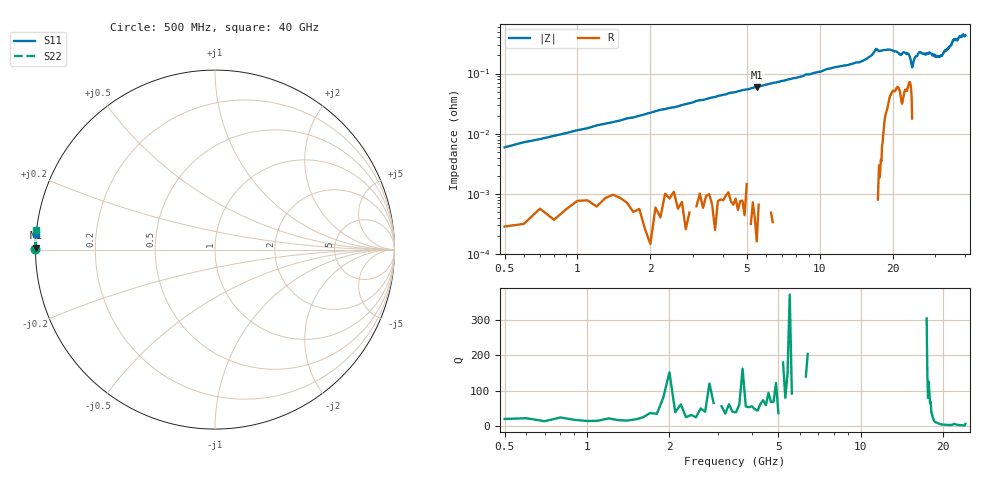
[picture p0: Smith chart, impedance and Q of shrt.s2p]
!Keysight Technologies,N5247B,MY61255062,A.15.50.07
!Date: Wednesday, February 12, 2025 16:43:45
!Correction: S11(C  2-Port  )
!S21(C  2-Port  )
!S12(C  2-Port  )
!S22(C  2-Port  )
!S2P File: Measurements: S11, S21, S12, S22:
# Hz S  MA  R 50
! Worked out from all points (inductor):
!   396 points, 500 MHz to 40 GHz, reference 50 ohm
!   read as one part in shunt: L = 1.83 pH near 600 MHz
!   highest Q = 148 at 5.5 GHz (marker M1), where L = 1.74 pH
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5e8  1 179.9  0.0002375 87.2  0.0002456 83.7  1.001 180.0
7e8  0.9999 179.9  0.0003262 85.9  0.0003427 84.1  1.001 179.9
1.2e9  0.9998 179.9  0.0005501 87.3  0.0005414 85.8  1.001 179.8
2.2e9  0.9999 179.7  0.001001 88.8  0.0009995 88.5  1.001 179.7
4e9  0.9999 179.5  0.001776 88.5  0.001803 87.9  1.002 179.4
5.5e9  0.9997 179.3  0.002408 89.1  0.002408 89.2  1.002 179.2
7.1e9  0.9997 179.1  0.003043 89.6  0.003067 89.6  1.002 179.0
1.37e10  0.9999 178.3  0.005873 93.4  0.005842 93.2  1.003 178.0
1.57e10  0.9996 178.1  0.007105 99.1  0.00715 99.3  1.002 177.6
1.71e10  0.9996 177.9  0.01031 93.8  0.01028 94.0  1.002 177.4
2.03e10  0.9994 177.5  0.00938 74.6  0.009374 74.7  1.003 177.0
2.33e10  0.9996 177.2  0.008449 68.8  0.008454 68.7  1.003 176.4
2.41e10  0.9999 177.1  0.005063 78.6  0.005083 78.0  1.003 176.3
2.47e10  0.9996 177.0  0.007244 95.4  0.007231 95.0  1.003 176.3
2.58e10  0.9999 176.8  0.009103 93.1  0.009078 92.9  1.002 176.0
2.69e10  0.9996 176.7  0.00848 88.7  0.00861 89.0  1.003 175.9
2.84e10  1 176.5  0.009052 92.2  0.008956 91.5  1.004 175.6
3.13e10  0.9995 176.2  0.007519 107.3  0.007483 107.3  1.004 175.1
3.35e10  0.9999 175.9  0.01018 121.3  0.01002 121.8  1.002 174.8
3.59e10  0.9981 175.5  0.01451 123.2  0.01487 122.6  1.002 174.4
3.69e10  0.9995 175.4  0.01424 119.3  0.014 119.1  1.003 174.3
4e10  0.9999 175.0  0.01734 117.8  0.01736 118.8  1.003 173.8
